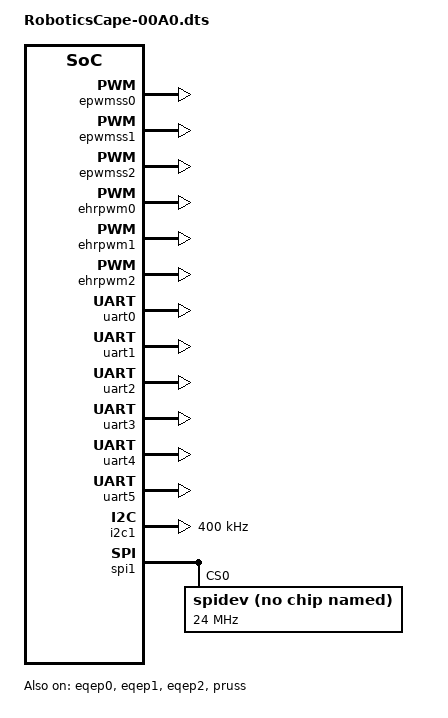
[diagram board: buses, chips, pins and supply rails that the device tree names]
/*
 * Device Tree Overlay for Robotics Cape SD-101D
 * Strawson Design 2015
 *
 */

/*
pinmux control byte map courtesy of http://beaglebone.cameon.net/
Bit 5: 1 - Input, 0 - Output
Bit 4: 1 - Pull up, 0 - Pull down
Bit 3: 1 - Pull disabled, 0 - Pull enabled
Bit 2 \
Bit 1 |- Mode
Bit 0 /
 */

/dts-v1/;
/plugin/;

/ {
    compatible = "ti,beaglebone-black";

    /* identification */
    part-number = "RoboticsCape";

    /* version */
    version = "00A0";

	exclusive-use =
		"P8.7",		/*LED_RED*/
		"P8.8",		/*LED_GRN*/
		"P8.9",		/*PAUSE_BTN*/
		"P8.10",	/*MODE_BTN*/
		"P8.11",	/*QEP_2B*/
		"P8.12",	/*QEP_2A*/
		"P8.13",	/*PWM_2B*/
		"P8.14",	/*BATT_LED_4*/
		"P8.15",	/*PRU_ENCODER_B*/
		"P8.16",	/*PRU_ENCODER_A*/
		"P8.17",	/*BATT_LED_1*/
		"P8.19",	/*PWM_2A*/
		"P8.26",	/*BATT_LED_3*/
		"P8.27",	/*SERVO_1*/
		"P8.28",	/*SERVO_2*/
		"P8.29",	/*SERVO_3*/
		"P8.30",	/*SERVO_4*/
		"P8.33",	/*QEP_1B*/
		"P8.34",	/*MDIR_2B*/
		"P8.35",	/*QEP_1A*/
		"P8.36",	/*SERVO_PWR*/
		"P8.37",	/*UART5_TX*/
		"P8.38",	/*UART5_RX*/
		"P8.39",	/*SERVO_5*/
		"P8.40",	/*SERVO_6*/
		"P8.41",	/*SERVO_7*/
		"P8.42",	/*SERVO_8*/
		"P8.43",	/*MDIR_3B*/
		"P8.44",	/*MDIR_3A*/
		"P8.45",	/*MDIR_4A*/
		"P8.46",	/*MDIR_4B*/

		"P9.11",	/*UART4_RX*/
		"P9.12",	/*MDIR_1A*/
		"P9.13",	/*MDIR_1B*/
		"P9.14",	/*PWM_1A*/
		"P9.15",	/*MDIR_2A*/
		"P9.16",	/*PWM_1B*/
		"P9.17",	/*I2C1_SCL*/
		"P9.18",	/*I2C1_SDA*/
		"P9.19",	/*I2C2_SCL*/
		"P9.20",	/*I2C2_SDA*/
		"P9.21",	/*UART2_TX*/
		"P9.22",	/*UART2_RX*/
		"P9.23", 	/*SPI1_SS2*/
		"P9.24",	/*UART1_TX*/
		"P9.25",	/*IMU_INT*/
		"P9.26",	/*UART1_RX*/
		"P9.27",	/*QEP_0B*/
		"P9.28",	/*SPI1_SS1*/
		"P9.29",	/*SPI1_MISO*/
		"P9.30",	/*SPI1_MOSI*/
		"P9.31",	/*SPI1_SCK*/
		"P9.35", 	/*V_DIV_BAT*/
		"P9.36", 	/*V_DIV_DC*/
		"P9.37", 	/*AIN2*/
		"P9.38", 	/*AIN3*/
		"P9.39", 	/*AIN0*/
		"P9.40", 	/*AIN1*/
		"P9.41",	/*MOT_STBY*/
		"P9.42",	/*QEP_0A*/

		"ehrpwm1A",
		"ehrpwm1B",
		"ehrpwm2A",
		"ehrpwm2B",
		"pruss",
		"pru0",
		"pru1",
		"eqep0",
		"eqep1",
		"eqep2",
		"i2c1",
		"i2c2",
		"uart1",	/*breakout*/
		"uart2",	/*GPS*/
		"uart4",	/*DSM2*/
		"uart5", 	/*breakout*/
		"spi1",
		"tscadc";




fragment@0 {
	target = <&am33xx_pinmux>;
	__overlay__ {
		/****************************************
		* 			pinmux helper
		****************************************/
		mux_helper_pins: pins {
			pinctrl-single,pins = <

			/* HRPWM 1 */
			0x048  0x6 /* P9_14 | MODE 6 */
			0x04c  0x6 /* P9_16 | MODE 6 */

			/* HRPWM 2 */
			0x020  0x4 /* P8_19 | MODE 4 */
			0x024  0x4 /* P8_13 | MODE 4 */

			/* EQEP */
			0x1A0 0x31  /* P9_42,EQEP0A, MODE1 */
			0x1A4 0x31  /* P9_27,EQEP0B, MODE1 */
			0x0D4 0x32  /* P8_33,EQEP1B, MODE2 */
			0x0D0 0x32  /* P8_35,EQEP1A, MODE2 */
			0x030 0x34  /* P8_12,EQEP2A_in, MODE4 */
			0x034 0x34  /* P8_11,EQEP2B_in, MODE4 */

			/* PRU encoder input */
			0x03c 0x36	/* P8_15,PRU0_r31_15,MODE6 */
			0x038 0x36	/* P8_16,PRU0_r31_16,MODE6 */

			/* PRU Servo output */
			0x0e0 0x25	/*pru1_pru_r30_8, MODE5*/
			0x0e8 0x25	/*pru1_pru_r30_10, MODE5 */
			0x0e4 0x25	/*pr1_pru1_pru_r30_9, MODE5 */
			0x0ec 0x25	/*pru1_pru_r30_11, MODE5 */
			0x0b8 0x25	/*pru1_pru_r30_6, MODE5 */
			0x0bc 0x25	/*pru1_pru_r30_7, MODE5 */
			0x0b0 0x25	/*pru1_pru_r30_4, MODE5 */
			0x0b4 0x25	/*pru1_pru_r30_5, MODE5 */

			/* GPIO Inputs */
			0x09c 0x37	/*P8.9  Pause BUTTON, input pullup*/
			0x098 0x37	/*P8.10 MODE BUTTON input pullup*/
			0x1AC 0x37	/*P9.25 MPU-9150 INTERRUPT IN*/

			/* GPIO Outputs
			0x090 0x0F	/*P8.7, MODE7*/
			0x094 0x0F	/*P8.8*/
			0x028 0x0F	/*P8.14*/
			0x02C 0x0F	/*P8.17*/
			0x08c 0x0F	/*P8.18*/
			0x07c 0x0F	/*P8.26*/
			0x0cc 0x0F	/*P8.34*/
			0x0C8 0x0F	/*P8.36*/
			0x0a8 0x0F	/*P8.43*/
			0x0ac 0x0F	/*P8.44*/
			0x0a0 0x0F	/*P8.45*/
			0x0a4 0x0F	/*P8.46*/
			0x078 0x0F	/*P9.12*/
			0x074 0x0F	/*P9.13*/
			0x040 0x0F	/*P9.15*/
			0x044 0x0F	/*P9.23*/
			0x19C 0x0F	/*P9.28*/
			0x1b4 0x0F	/*P9.41*/

			/* I2C1 */
			0x15C 0x32	/* P9.17,i2c1_scl,INPUT_PULLUP,MODE2 */
			0x158 0x32	/* P9.18,i2c1_sda,INPUT_PULLUP,MODE2 */

			/* SPI1 */
			0x190 0x33	/*spi1_sclk,INPUT_PULLUP,MODE3 */
			0x194 0x33	/*spi1_d0,INPUT_PULLUP,MODE3 */
			0x198 0x13	/*spi1_d1,OUTPUT_PULLUP,MODE3 */
			0x19c 0x0F	/*spi1_cs0,OUTPUT_PULLUP,MODE7 */

			/* UART1 */
			0x184 0x10 /*P9.24,uart1_txd,MODE0,OUTPUT*/
			0x180 0x30 /*P9.26,uart1_rxd,MODE0,INPUT*/

			/* UART2 */
			0x150 0x21	/*P9.22,uart2_rxd,MODE1 */
			0x154 0x11	/*P9.21,uart2_txd,MODE1 */


			/* UART5 */
			0x0C4 0x34	/* P8.38,uart5_rxd,MODE4 */
			0x0C0 0x14	/* P8.37,uart5_txd,MODE4 */

			>;
		};

		/****************************************/
		/* 			DSM2 UART4 pinmux			*/
		/* only pin that swaps between GPIO&UART*/
		/****************************************/
		P9_11_default_pin: pinmux_P9_11_default_pin {
			pinctrl-single,pins = <0x070  0x36>; };     /* Mode 6 uart */
		P9_11_gpio_pin: pinmux_P9_11_gpio_pin {
			pinctrl-single,pins = <0x070  0x2F>; };     /* Mode 7, RxActive */
		P9_11_gpio_pu_pin: pinmux_P9_11_gpio_pu_pin {
			pinctrl-single,pins = <0x070  0x37>; };     /* Mode 7, Pull-Up, RxActive */
		P9_11_gpio_pd_pin: pinmux_P9_11_gpio_pd_pin {
			pinctrl-single,pins = <0x070  0x27>; };     /* Mode 7, Pull-Down, RxActive */
		P9_11_uart_pin: pinmux_P9_11_uart_pin {
			pinctrl-single,pins = <0x070  0x36>; };     /* Mode 6, uart */

	};
};

/****************************************
	Pinmux Helper
	activates the pinmux helper list of pin modes
****************************************/
fragment@1 {
	target = <&ocp>;
		__overlay__ {
			test_helper: helper {
			compatible = "bone-pinmux-helper";
			pinctrl-names = "default";
			pinctrl-0 = <&mux_helper_pins>;
			status = "okay";
		};
	};
};


/****************************************
 		PWMSS
****************************************/
fragment@2 {
	target = <&epwmss0>;
	__overlay__ {
		status = "okay";
	};
};

fragment@3 {
	target = <&epwmss1>;
	__overlay__ {
		status = "okay";
	};
};

fragment@4 {
	target = <&epwmss2>;
	__overlay__ {
		status = "okay";
	};
};


fragment@5 {
	target = <&ehrpwm0>;
	__overlay__ {
		status = "okay";
	};
};

fragment@6 {
	target = <&ehrpwm1>;
	__overlay__ {
		status = "okay";
	};
};

fragment@7 {
	target = <&ehrpwm2>;
	__overlay__ {
		status = "okay";
	};
};



fragment@8 {
	target = <&eqep0>;
	__overlay__ {
		count_mode = <0>;  /* 0 - Quadrature mode, normal 90 phase offset cha & chb.  1 - Direction mode.  cha input = clock, chb input = direction */
		swap_inputs = <0>; /* Are channel A and channel B swapped? (0 - no, 1 - yes) */
		invert_qa = <1>;   /* Should we invert the channel A input?  */
		invert_qb = <1>;   /* Should we invert the channel B input? I invert these because my encoder outputs drive transistors that pull down the pins */
		invert_qi = <0>;   /* Should we invert the index input? */
		invert_qs = <0>;   /* Should we invert the strobe input? */

		status = "okay";
	};
};

fragment@9 {
	target = <&eqep1>;
	__overlay__ {
		count_mode = <0>;  /* 0 - Quadrature mode, normal 90 phase offset cha & chb.  1 - Direction mode.  cha input = clock, chb input = direction */
		swap_inputs = <0>; /* Are channel A and channel B swapped? (0 - no, 1 - yes) */
		invert_qa = <1>;   /* Should we invert the channel A input?  */
		invert_qb = <1>;   /* Should we invert the channel B input? I invert these because my encoder outputs drive transistors that pull down the pins */
		invert_qi = <0>;   /* Should we invert the index input? */
		invert_qs = <0>;   /* Should we invert the strobe input? */
		status = "okay";
	};
};

fragment@10 {
	target = <&eqep2>;
	__overlay__ {
		count_mode = <0>;  /* 0 - Quadrature mode, normal 90 phase offset cha & chb.  1 - Direction mode.  cha input = clock, chb input = direction */
		swap_inputs = <0>; /* Are channel A and channel B swapped? (0 - no, 1 - yes) */
		invert_qa = <1>;   /* Should we invert the channel A input?  */
		invert_qb = <1>;   /* Should we invert the channel B input? I invert these because my encoder outputs drive transistors that pull down the pins */
		invert_qi = <0>;   /* Should we invert the index input? */
		invert_qs = <0>;   /* Should we invert the strobe input? */
		status = "okay";
	};
};

/****************************************
 	UART

	UART 1, 2, 5 are used on the cape.
	The Beaglebone Blue uses others so all are enabled here.
****************************************/

fragment@22 {
	target = <&uart0>;
	__overlay__ {
		status = "okay";
	};
};

fragment@23 {
	target = <&uart1>;
	__overlay__ {
		status = "okay";
	};
};

fragment@24 {
	target = <&uart2>;
	__overlay__ {
		status = "okay";
	};
};

fragment@25 {
	target = <&uart3>;
	__overlay__ {
		status = "okay";
	};
};

fragment@26 {
	target = <&uart4>;
	__overlay__ {
		status = "okay";
	};
};

fragment@27 {
	target = <&uart5>;
	__overlay__ {
		status = "okay";
	};
};


/****************************************
 	configurable DSM2 pin
	swaps between GPIO & UART4 at runtime
****************************************/
fragment@30 {
	target = <&ocp>;
	__overlay__ {
	 P9_11_pinmux {
			compatible = "bone-pinmux-helper";
			status = "okay";
			pinctrl-names = "default", "gpio", "gpio_pu", "gpio_pd", "uart";
			pinctrl-0 = <&P9_11_default_pin>;
			pinctrl-1 = <&P9_11_gpio_pin>;
			pinctrl-2 = <&P9_11_gpio_pu_pin>;
			pinctrl-3 = <&P9_11_gpio_pd_pin>;
			pinctrl-4 = <&P9_11_uart_pin>;
		};
	};
};

/****************************************
 		PRU
****************************************/
fragment@31 {
	target = <&pruss>;
	__overlay__ {
		status = "okay";
	};
};

/****************************************
 		I2C
****************************************/
fragment@32 {
	target = <&i2c1>;	/* i2c1 is numbered correctly */
	__overlay__ {
		status = "okay";

		/* this is the configuration part */
		clock-frequency = <400000>;

		#address-cells = <1>;
		#size-cells = <0>;

		/* add any i2c devices on the bus here */
	};
};

/****************************************
 		SPI
****************************************/
 fragment@33 {
        target = <&spi1>;
        __overlay__ {

             #address-cells = <1>;
             #size-cells = <0>;
             status = "okay";

             spidev@1 {
                 spi-max-frequency = <24000000>;
                 reg = <0>;
                 compatible = "linux,spidev";
            };
        };
    };


 fragment@34 {
	target = <&ocp>;
	__overlay__ {
		#address-cells = <1>;
		#size-cells = <1>;

		pruss: pruss@4a300000 {
			status = "okay";
			compatible = "ti,am3352-pruss";
			ti,hwmods = "pruss";
			reg = <0x4a300000 0x2000>,
			      <0x4a302000 0x2000>,
			      <0x4a310000 0x3000>,
			      <0x4a326000 0x2000>,
			      <0x4a32e000 0x31c>,
			      <0x4a332000 0x58>;
			reg-names = "dram0", "dram1", "shrdram2", "cfg",
				    "iep", "mii_rt";
			#address-cells = <1>;
			#size-cells = <1>;
			ranges;

			pruss_intc: intc@4a320000 {
				compatible = "ti,am3352-pruss-intc";
				reg = <0x4a320000 0x2000>;
				reg-names = "intc";
				interrupts = <20 21 22 23 24 25 26 27>;
				interrupt-names = "host2", "host3", "host4",
						  "host5", "host6", "host7",
						  "host8", "host9";
				interrupt-controller;
				#interrupt-cells = <1>;
			};

			pru0: pru0@4a334000 {
				compatible = "ti,am3352-pru";
				reg = <0x4a334000 0x2000>,
				      <0x4a322000 0x400>,
				      <0x4a322400 0x100>;
				reg-names = "iram", "control", "debug";
				interrupt-parent = <&pruss_intc>;
				interrupts = <16>, <17>;
				interrupt-names = "vring", "kick";
			};

			pru1: pru1@4a338000 {
				compatible = "ti,am3352-pru";
				reg = <0x4a338000 0x2000>,
				      <0x4a324000 0x400>,
				      <0x4a324400 0x100>;
				reg-names = "iram", "control", "debug";
				interrupt-parent = <&pruss_intc>;
				interrupts = <18>, <19>;
				interrupt-names = "vring", "kick";
			};

			pruss_mdio: mdio@4a332400 {
				compatible = "ti,davinci_mdio";
				reg = <0x4a332400 0x90>;
				clocks = <&dpll_core_m4_ck>;
				clock-names = "fck";
				bus_freq = <1000000>;
				#address-cells = <1>;
				#size-cells = <0>;
				status = "disabled";
			};
		};
	};
 };
};
